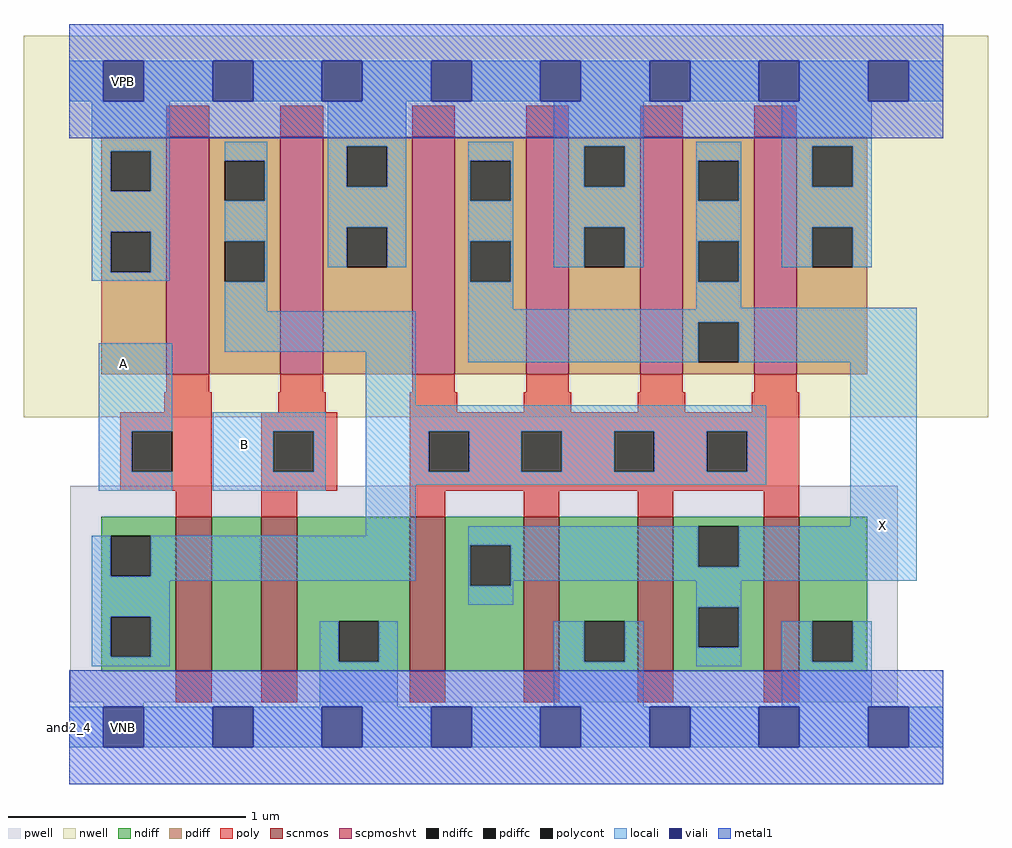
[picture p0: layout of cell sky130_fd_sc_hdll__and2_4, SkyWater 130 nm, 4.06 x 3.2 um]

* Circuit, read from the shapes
.subckt sky130_fd_sc_hdll__and2_4 A B VGND VNB VPB VPWR X
XM1 n1 A n2 VNB sky130_fd_pr__nfet_01v8 w=0.65 l=0.15
XM2 VGND B n1 VNB sky130_fd_pr__nfet_01v8 w=0.65 l=0.15
XM3 X n2 VGND VNB sky130_fd_pr__nfet_01v8 w=0.65 l=0.15 m=4
XM4 n2 A VPWR VPB sky130_fd_pr__pfet_01v8_hvt w=1 l=0.18
XM5 VPWR B n2 VPB sky130_fd_pr__pfet_01v8_hvt w=1 l=0.18
XM6 X n2 VPWR VPB sky130_fd_pr__pfet_01v8_hvt w=1 l=0.18 m=4
.ends

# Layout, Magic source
magic
tech sky130A
magscale 1 2
<< nwell >>
rect -38 261 774 582
<< pwell >>
rect 1 21 698 203
rect 29 -17 63 21
<< scnmos >>
rect 90 47 120 177
rect 162 47 192 177
rect 287 47 317 177
rect 383 47 413 177
rect 479 47 509 177
rect 585 47 615 177
<< scpmoshvt >>
rect 82 297 118 497
rect 178 297 214 497
rect 289 297 325 497
rect 385 297 421 497
rect 481 297 517 497
rect 577 297 613 497
<< ndiff >>
rect 27 161 90 177
rect 27 127 35 161
rect 69 127 90 161
rect 27 93 90 127
rect 27 59 35 93
rect 69 59 90 93
rect 27 47 90 59
rect 120 47 162 177
rect 192 89 287 177
rect 192 55 227 89
rect 261 55 287 89
rect 192 47 287 55
rect 317 153 383 177
rect 317 119 338 153
rect 372 119 383 153
rect 317 47 383 119
rect 413 89 479 177
rect 413 55 434 89
rect 468 55 479 89
rect 413 47 479 55
rect 509 169 585 177
rect 509 135 530 169
rect 564 135 585 169
rect 509 101 585 135
rect 509 67 530 101
rect 564 67 585 101
rect 509 47 585 67
rect 615 89 672 177
rect 615 55 626 89
rect 660 55 672 89
rect 615 47 672 55
<< pdiff >>
rect 27 485 82 497
rect 27 451 35 485
rect 69 451 82 485
rect 27 417 82 451
rect 27 383 35 417
rect 69 383 82 417
rect 27 297 82 383
rect 118 477 178 497
rect 118 443 131 477
rect 165 443 178 477
rect 118 409 178 443
rect 118 375 131 409
rect 165 375 178 409
rect 118 297 178 375
rect 214 489 289 497
rect 214 455 234 489
rect 268 455 289 489
rect 214 421 289 455
rect 214 387 234 421
rect 268 387 289 421
rect 214 297 289 387
rect 325 477 385 497
rect 325 443 338 477
rect 372 443 385 477
rect 325 409 385 443
rect 325 375 338 409
rect 372 375 385 409
rect 325 297 385 375
rect 421 489 481 497
rect 421 455 434 489
rect 468 455 481 489
rect 421 421 481 455
rect 421 387 434 421
rect 468 387 481 421
rect 421 297 481 387
rect 517 477 577 497
rect 517 443 530 477
rect 564 443 577 477
rect 517 409 577 443
rect 517 375 530 409
rect 564 375 577 409
rect 517 341 577 375
rect 517 307 530 341
rect 564 307 577 341
rect 517 297 577 307
rect 613 489 672 497
rect 613 455 626 489
rect 660 455 672 489
rect 613 421 672 455
rect 613 387 626 421
rect 660 387 672 421
rect 613 297 672 387
<< ndiffc >>
rect 35 127 69 161
rect 35 59 69 93
rect 227 55 261 89
rect 338 119 372 153
rect 434 55 468 89
rect 530 135 564 169
rect 530 67 564 101
rect 626 55 660 89
<< pdiffc >>
rect 35 451 69 485
rect 35 383 69 417
rect 131 443 165 477
rect 131 375 165 409
rect 234 455 268 489
rect 234 387 268 421
rect 338 443 372 477
rect 338 375 372 409
rect 434 455 468 489
rect 434 387 468 421
rect 530 443 564 477
rect 530 375 564 409
rect 530 307 564 341
rect 626 455 660 489
rect 626 387 660 421
<< poly >>
rect 82 497 118 523
rect 178 497 214 523
rect 289 497 325 523
rect 385 497 421 523
rect 481 497 517 523
rect 577 497 613 523
rect 82 282 118 297
rect 178 282 214 297
rect 289 282 325 297
rect 385 282 421 297
rect 481 282 517 297
rect 577 282 613 297
rect 80 265 120 282
rect 176 265 216 282
rect 287 265 327 282
rect 383 265 423 282
rect 479 265 519 282
rect 575 265 615 282
rect 43 249 120 265
rect 43 215 53 249
rect 87 215 120 249
rect 43 199 120 215
rect 90 177 120 199
rect 162 249 226 265
rect 162 215 172 249
rect 206 215 226 249
rect 162 199 226 215
rect 287 249 615 265
rect 287 215 303 249
rect 337 215 381 249
rect 415 215 459 249
rect 493 215 537 249
rect 571 215 615 249
rect 287 199 615 215
rect 162 177 192 199
rect 287 177 317 199
rect 383 177 413 199
rect 479 177 509 199
rect 585 177 615 199
rect 90 21 120 47
rect 162 21 192 47
rect 287 21 317 47
rect 383 21 413 47
rect 479 21 509 47
rect 585 21 615 47
<< polycont >>
rect 53 215 87 249
rect 172 215 206 249
rect 303 215 337 249
rect 381 215 415 249
rect 459 215 493 249
rect 537 215 571 249
<< locali >>
rect 0 527 29 561
rect 63 527 121 561
rect 155 527 213 561
rect 247 527 305 561
rect 339 527 397 561
rect 431 527 489 561
rect 523 527 581 561
rect 615 527 673 561
rect 707 527 736 561
rect 19 485 85 527
rect 19 451 35 485
rect 69 451 85 485
rect 19 417 85 451
rect 19 383 35 417
rect 69 383 85 417
rect 19 376 85 383
rect 131 477 167 493
rect 165 443 167 477
rect 131 409 167 443
rect 165 375 167 409
rect 218 489 284 527
rect 218 455 234 489
rect 268 455 284 489
rect 218 421 284 455
rect 218 387 234 421
rect 268 387 284 421
rect 336 477 374 493
rect 336 443 338 477
rect 372 443 374 477
rect 336 409 374 443
rect 131 350 167 375
rect 336 375 338 409
rect 372 375 374 409
rect 408 489 484 527
rect 408 455 434 489
rect 468 455 484 489
rect 408 421 484 455
rect 408 387 434 421
rect 468 387 484 421
rect 528 477 566 493
rect 528 443 530 477
rect 564 443 566 477
rect 528 409 566 443
rect 336 352 374 375
rect 528 375 530 409
rect 564 375 566 409
rect 600 489 676 527
rect 600 455 626 489
rect 660 455 676 489
rect 600 421 676 455
rect 600 387 626 421
rect 660 387 676 421
rect 528 353 566 375
rect 528 352 714 353
rect 25 249 87 323
rect 131 316 292 350
rect 250 271 292 316
rect 336 341 714 352
rect 336 307 530 341
rect 564 307 714 341
rect 25 215 53 249
rect 25 199 87 215
rect 121 249 216 265
rect 121 215 172 249
rect 206 215 216 249
rect 121 199 216 215
rect 250 249 587 271
rect 250 215 303 249
rect 337 215 381 249
rect 415 215 459 249
rect 493 215 537 249
rect 571 215 587 249
rect 250 204 587 215
rect 250 161 292 204
rect 658 169 714 307
rect 19 127 35 161
rect 69 127 292 161
rect 19 123 292 127
rect 336 153 530 169
rect 19 93 85 123
rect 336 119 338 153
rect 372 135 530 153
rect 564 135 714 169
rect 372 123 714 135
rect 372 119 374 123
rect 336 103 374 119
rect 19 59 35 93
rect 69 59 85 93
rect 528 101 566 123
rect 19 51 85 59
rect 211 55 227 89
rect 261 55 277 89
rect 211 17 277 55
rect 408 55 434 89
rect 468 55 484 89
rect 408 17 484 55
rect 528 67 530 101
rect 564 67 566 101
rect 528 51 566 67
rect 600 55 626 89
rect 660 55 676 89
rect 600 17 676 55
rect 0 -17 29 17
rect 63 -17 121 17
rect 155 -17 213 17
rect 247 -17 305 17
rect 339 -17 397 17
rect 431 -17 489 17
rect 523 -17 581 17
rect 615 -17 673 17
rect 707 -17 736 17
<< viali >>
rect 29 527 63 561
rect 121 527 155 561
rect 213 527 247 561
rect 305 527 339 561
rect 397 527 431 561
rect 489 527 523 561
rect 581 527 615 561
rect 673 527 707 561
rect 29 -17 63 17
rect 121 -17 155 17
rect 213 -17 247 17
rect 305 -17 339 17
rect 397 -17 431 17
rect 489 -17 523 17
rect 581 -17 615 17
rect 673 -17 707 17
<< metal1 >>
rect 0 561 736 592
rect 0 527 29 561
rect 63 527 121 561
rect 155 527 213 561
rect 247 527 305 561
rect 339 527 397 561
rect 431 527 489 561
rect 523 527 581 561
rect 615 527 673 561
rect 707 527 736 561
rect 0 496 736 527
rect 0 17 736 48
rect 0 -17 29 17
rect 63 -17 121 17
rect 155 -17 213 17
rect 247 -17 305 17
rect 339 -17 397 17
rect 431 -17 489 17
rect 523 -17 581 17
rect 615 -17 673 17
rect 707 -17 736 17
rect 0 -48 736 -17
<< labels >>
flabel locali s 668 153 702 187 0 FreeSans 340 0 0 0 X
port 7 nsew signal output
flabel locali s 131 221 165 255 0 FreeSans 340 0 0 0 B
port 2 nsew signal input
flabel locali s 29 289 63 323 0 FreeSans 340 0 0 0 A
port 1 nsew signal input
flabel pwell s 29 -17 63 17 0 FreeSans 200 0 0 0 VNB
port 4 nsew ground bidirectional
flabel nwell s 29 527 63 561 0 FreeSans 200 0 0 0 VPB
port 5 nsew power bidirectional
flabel metal1 s 29 -17 63 17 0 FreeSans 200 0 0 0 VGND
port 3 nsew ground bidirectional
flabel metal1 s 29 527 63 561 0 FreeSans 200 0 0 0 VPWR
port 6 nsew power bidirectional
rlabel comment s 0 0 0 0 4 and2_4
<< properties >>
string LEFsite unithd
string LEFclass CORE
string FIXED_BBOX 0 0 736 544
string GDS_FILE $PDKPATH/libs.ref/sky130_fd_sc_hdll/gds/sky130_fd_sc_hdll.gds
string LEFsymmetry X Y R90
string GDS_END 1769218
string GDS_START 1763180
string LEFproperties maskLayoutSubType "abstract" prCellType "standard" originalViewName "layout"
<< end >>
